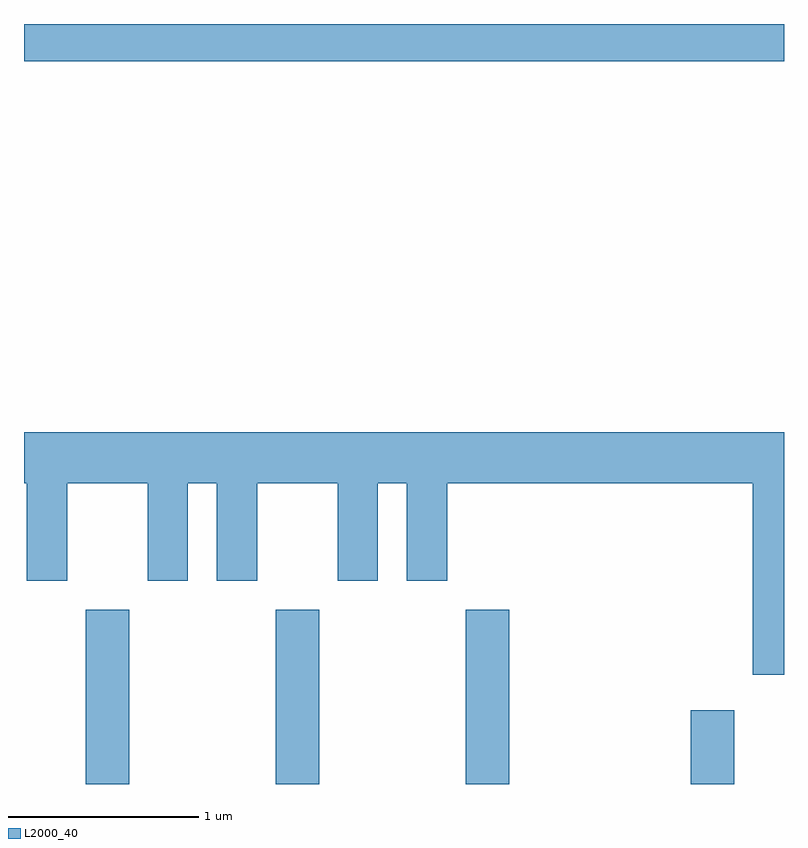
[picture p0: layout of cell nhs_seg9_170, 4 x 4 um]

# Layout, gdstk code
import gdstk
lib = gdstk.Library(unit=1e-6, precision=1e-09)
def R(c, l, rs):  # rectangles x0, y0, x1, y1
    for r in rs: c.add(gdstk.rectangle(r[:2], r[2:], *l))
def A(c, l, x, y, w, h, nx, ny, dx, dy):  # array of equal rectangles
    R(c, l, [(x+i*dx, y+j*dy, x+i*dx+w, y+j*dy+h) for i in range(nx) for j in range(ny)])
def P(c, l, *ps):  # polygons
    for p in ps: c.add(gdstk.Polygon(p, *l))
L2000_40 = (2000, 40)

nhs_seg9_170 = lib.new_cell('nhs_seg9_170')
A(nhs_seg9_170, L2000_40, 189.936, 2012.432, 0.228, 0.917, 3, 1, 1, 0)
R(nhs_seg9_170, L2000_40, [(193.121,2012.432,193.349,2012.819), (189.611,2016.236,193.611,2016.432)])
P(nhs_seg9_170, L2000_40, [(193.611,2014.284),(189.611,2014.284),(189.611,2014.016),(189.626,2014.016),(189.626,2013.501),(189.839,2013.501),(189.839,2014.016),(190.261,2014.016),(190.261,2013.501),(190.474,2013.501),(190.474,2014.016),(190.626,2014.016),(190.626,2013.501),(190.839,2013.501),(190.839,2014.016),(191.261,2014.016),(191.261,2013.501),(191.474,2013.501),(191.474,2014.016),(191.626,2014.016),(191.626,2013.501),(191.839,2013.501),(191.839,2014.016),(193.446,2014.016),(193.446,2013.006),(193.611,2013.006)])

lib.write_gds('nhs_seg9_170.gds')
